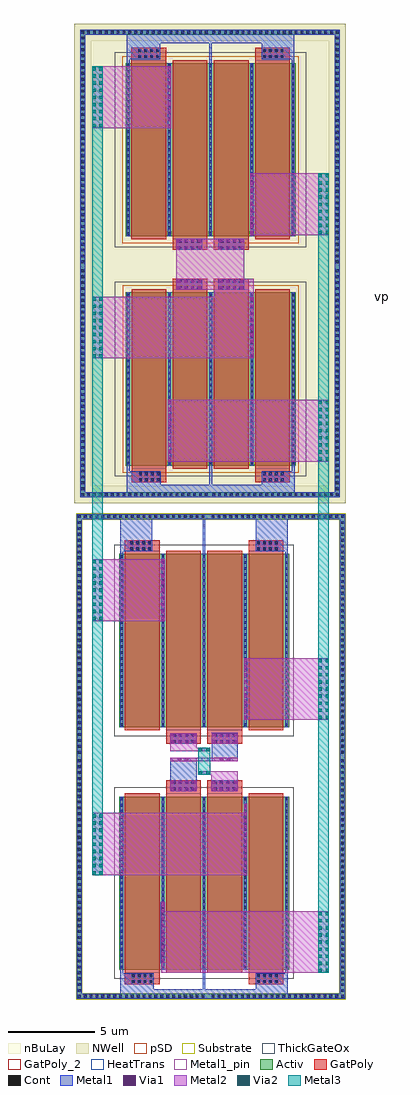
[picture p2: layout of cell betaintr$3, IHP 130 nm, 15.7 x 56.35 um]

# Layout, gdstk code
import gdstk
lib = gdstk.Library(unit=1e-6, precision=5e-09)
def R(c, l, rs):  # rectangles x0, y0, x1, y1
    for r in rs: c.add(gdstk.rectangle(r[:2], r[2:], *l))
def A(c, l, x, y, w, h, nx, ny, dx, dy):  # array of equal rectangles
    R(c, l, [(x+i*dx, y+j*dy, x+i*dx+w, y+j*dy+h) for i in range(nx) for j in range(ny)])
def P(c, l, *ps):  # polygons
    for p in ps: c.add(gdstk.Polygon(p, *l))
Activ = (1, 0)
GatPoly = (5, 0)
GatPoly_2 = (5, 2)
Cont = (6, 0)
Metal1 = (8, 0)
Metal1_pin = (8, 2)
Metal2 = (10, 0)
pSD = (14, 0)
Via1 = (19, 0)
Via2 = (29, 0)
Metal3 = (30, 0)
NWell = (31, 0)
nBuLay = (32, 0)
Substrate = (40, 0)
ThickGateOx = (44, 0)
HeatTrans = (51, 0)

via_stack_13_5 = lib.new_cell('via_stack$13$5')
R(via_stack_13_5, Metal2, [(-0.305,-1.785,0.305,1.785)])
A(via_stack_13_5, Via2, -0.3, -1.735, 0.19, 0.19, 1, 9, 0, 0.41)
A(via_stack_13_5, Via2, 0.11, -1.735, 0.19, 0.19, 1, 9, 0, 0.41)
R(via_stack_13_5, Metal3, [(-0.305,-1.785,0.305,1.785)])

via_stack_8_5 = lib.new_cell('via_stack$8$5')
R(via_stack_8_5, Metal1, [(-0.105,-1.785,0.105,1.785)])
R(via_stack_8_5, Metal2, [(-0.1,-1.785,0.1,1.785)])
A(via_stack_8_5, Via1, -0.095, -1.735, 0.19, 0.19, 1, 9, 0, 0.41)

nmoshv_3_3 = lib.new_cell('nmosHV$3$3')
R(nmoshv_3_3, Activ, [(0,0,0.3,0.3), (0,0,2.68,10), (2.38,0,2.68,0.3)])
R(nmoshv_3_3, GatPoly, [(0.34,-0.18,2.34,10.18)])
R(nmoshv_3_3, GatPoly_2, [(0.34,-0.18,2.34,10.18)])
A(nmoshv_3_3, Cont, 0.07, 0.07, 0.16, 0.16, 1, 4, 0, 0.345)
A(nmoshv_3_3, Cont, 2.45, 0.07, 0.16, 0.16, 1, 4, 0, 0.345)
A(nmoshv_3_3, Cont, 0.07, 1.455, 0.16, 0.16, 1, 3, 0, 0.345)
A(nmoshv_3_3, Cont, 2.45, 1.455, 0.16, 0.16, 1, 3, 0, 0.345)
A(nmoshv_3_3, Cont, 0.07, 2.495, 0.16, 0.16, 1, 4, 0, 0.345)
A(nmoshv_3_3, Cont, 2.45, 2.495, 0.16, 0.16, 1, 4, 0, 0.345)
A(nmoshv_3_3, Cont, 0.07, 3.88, 0.16, 0.16, 1, 3, 0, 0.345)
A(nmoshv_3_3, Cont, 2.45, 3.88, 0.16, 0.16, 1, 3, 0, 0.345)
A(nmoshv_3_3, Cont, 0.07, 4.92, 0.16, 0.16, 1, 4, 0, 0.345)
A(nmoshv_3_3, Cont, 2.45, 4.92, 0.16, 0.16, 1, 4, 0, 0.345)
A(nmoshv_3_3, Cont, 0.07, 6.305, 0.16, 0.16, 1, 3, 0, 0.345)
A(nmoshv_3_3, Cont, 2.45, 6.305, 0.16, 0.16, 1, 3, 0, 0.345)
A(nmoshv_3_3, Cont, 0.07, 7.345, 0.16, 0.16, 1, 4, 0, 0.345)
A(nmoshv_3_3, Cont, 2.45, 7.345, 0.16, 0.16, 1, 4, 0, 0.345)
A(nmoshv_3_3, Cont, 0.07, 8.73, 0.16, 0.16, 1, 3, 0, 0.345)
A(nmoshv_3_3, Cont, 2.45, 8.73, 0.16, 0.16, 1, 3, 0, 0.345)
R(nmoshv_3_3, Cont, [(0.07,9.77,0.23,9.93), (2.45,9.77,2.61,9.93)])
R(nmoshv_3_3, Metal1, [(0.07,0,0.23,10), (2.45,0,2.61,10)])
R(nmoshv_3_3, Metal1_pin, [(0.07,0,0.23,10), (2.45,0,2.61,10)])
R(nmoshv_3_3, ThickGateOx, [(-0.27,-0.52,2.95,10.52)])
R(nmoshv_3_3, HeatTrans, [(0.34,-0.18,2.34,10.18)])
nmoshv_3_3.add(gdstk.Label('nmosHV', (1.34,5), layer=63, texttype=0))
nmoshv_3_3.add(gdstk.Label('nmosHV', (1.34,5), layer=51, texttype=0))

via_stack_7_3 = lib.new_cell('via_stack$7$3')
R(via_stack_7_3, GatPoly, [(-0.66,-0.32,0.66,0.32)])
A(via_stack_7_3, Cont, -0.59, -0.25, 0.16, 0.16, 4, 2, 0.34, 0.34)
R(via_stack_7_3, Metal1, [(-0.64,-0.25,0.64,0.25)])

via_stack_14_5 = lib.new_cell('via_stack$14$5')
R(via_stack_14_5, GatPoly, [(-0.66,-0.32,0.66,0.32)])
A(via_stack_14_5, Cont, -0.59, -0.25, 0.16, 0.16, 4, 2, 0.34, 0.34)
R(via_stack_14_5, Metal1, [(-0.76,-0.31,0.76,0.31)])
R(via_stack_14_5, Metal2, [(-0.76,-0.305,0.76,0.305)])
A(via_stack_14_5, Via1, -0.71, -0.3, 0.19, 0.19, 4, 2, 0.41, 0.41)

via_stack_15_5 = lib.new_cell('via_stack$15$5')
R(via_stack_15_5, Metal1, [(-0.35,-0.105,0.35,0.105)])
R(via_stack_15_5, Metal2, [(-0.35,-0.1,0.35,0.1)])
R(via_stack_15_5, Via1, [(-0.3,-0.095,-0.11,0.095), (0.11,-0.095,0.3,0.095)])

guard_ring_4_3 = lib.new_cell('guard_ring$4$3')
R(guard_ring_4_3, Activ, [(-7.75,-13.7,-7.45,13.7), (7.45,-13.7,7.75,13.7), (-7.75,13.7,7.75,14)])
P(guard_ring_4_3, Activ, [(-7.75,-14),(-7.75,13.7),(-7.45,13.7),(-7.45,-13.7),(7.45,-13.7),(7.45,13.7),(-7.75,13.7),(-7.75,14),(7.75,14),(7.75,-14)])
A(guard_ring_4_3, Cont, -7.68, -13.93, 0.16, 0.16, 22, 2, 0.34, 27.7)
A(guard_ring_4_3, Cont, 0.04, -13.93, 0.16, 0.16, 23, 2, 0.34, 27.7)
A(guard_ring_4_3, Cont, -7.68, -13.59, 0.16, 0.16, 1, 40, 0, 0.34)
A(guard_ring_4_3, Cont, 7.52, -13.59, 0.16, 0.16, 1, 40, 0, 0.34)
A(guard_ring_4_3, Cont, -7.68, 0.17, 0.16, 0.16, 1, 40, 0, 0.34)
A(guard_ring_4_3, Cont, 7.52, 0.17, 0.16, 0.16, 1, 40, 0, 0.34)
R(guard_ring_4_3, Metal1, [(-7.75,-14,7.75,-13.7), (-7.75,-13.7,-7.45,13.7), (7.45,-13.7,7.75,13.7), (-7.75,13.7,7.75,14)])
R(guard_ring_4_3, pSD, [(-7.78,-13.67,-7.42,13.67), (7.42,-13.67,7.78,13.67), (-7.78,13.67,7.78,14.03)])
P(guard_ring_4_3, pSD, [(-7.78,-14.03),(-7.78,13.67),(-7.42,13.67),(-7.42,-13.67),(7.42,-13.67),(7.42,13.67),(-7.78,13.67),(-7.78,14.03),(7.78,14.03),(7.78,-14.03)])
R(guard_ring_4_3, Substrate, [(-7.78,-13.67,-7.42,13.67), (7.42,-13.67,7.78,13.67), (-7.78,13.67,7.78,14.03)])
P(guard_ring_4_3, Substrate, [(-7.78,-14.03),(-7.78,13.67),(-7.42,13.67),(-7.42,-13.67),(7.42,-13.67),(7.42,13.67),(-7.78,13.67),(-7.78,14.03),(7.78,14.03),(7.78,-14.03)])
guard_ring_4_3.add(gdstk.Label('sub!', (0,-13.85), layer=63, texttype=0))

via_stack_16_3 = lib.new_cell('via_stack$16$3')
R(via_stack_16_3, Metal2, [(-0.35,-0.1,0.35,0.1)])
R(via_stack_16_3, Via2, [(-0.3,-0.095,-0.11,0.095), (0.11,-0.095,0.3,0.095)])
R(via_stack_16_3, Metal3, [(-0.35,-0.1,0.35,0.1)])

pmoshv_2_4 = lib.new_cell('pmosHV$2$4')
R(pmoshv_2_4, Activ, [(0,0,0.3,0.3), (0,0,2.68,10), (2.38,0,2.68,0.3)])
R(pmoshv_2_4, GatPoly, [(0.34,-0.18,2.34,10.18)])
R(pmoshv_2_4, GatPoly_2, [(0.34,-0.18,2.34,10.18)])
A(pmoshv_2_4, Cont, 0.07, 0.07, 0.16, 0.16, 1, 4, 0, 0.345)
A(pmoshv_2_4, Cont, 2.45, 0.07, 0.16, 0.16, 1, 4, 0, 0.345)
A(pmoshv_2_4, Cont, 0.07, 1.455, 0.16, 0.16, 1, 3, 0, 0.345)
A(pmoshv_2_4, Cont, 2.45, 1.455, 0.16, 0.16, 1, 3, 0, 0.345)
A(pmoshv_2_4, Cont, 0.07, 2.495, 0.16, 0.16, 1, 4, 0, 0.345)
A(pmoshv_2_4, Cont, 2.45, 2.495, 0.16, 0.16, 1, 4, 0, 0.345)
A(pmoshv_2_4, Cont, 0.07, 3.88, 0.16, 0.16, 1, 3, 0, 0.345)
A(pmoshv_2_4, Cont, 2.45, 3.88, 0.16, 0.16, 1, 3, 0, 0.345)
A(pmoshv_2_4, Cont, 0.07, 4.92, 0.16, 0.16, 1, 4, 0, 0.345)
A(pmoshv_2_4, Cont, 2.45, 4.92, 0.16, 0.16, 1, 4, 0, 0.345)
A(pmoshv_2_4, Cont, 0.07, 6.305, 0.16, 0.16, 1, 3, 0, 0.345)
A(pmoshv_2_4, Cont, 2.45, 6.305, 0.16, 0.16, 1, 3, 0, 0.345)
A(pmoshv_2_4, Cont, 0.07, 7.345, 0.16, 0.16, 1, 4, 0, 0.345)
A(pmoshv_2_4, Cont, 2.45, 7.345, 0.16, 0.16, 1, 4, 0, 0.345)
A(pmoshv_2_4, Cont, 0.07, 8.73, 0.16, 0.16, 1, 3, 0, 0.345)
A(pmoshv_2_4, Cont, 2.45, 8.73, 0.16, 0.16, 1, 3, 0, 0.345)
R(pmoshv_2_4, Cont, [(0.07,9.77,0.23,9.93), (2.45,9.77,2.61,9.93)])
R(pmoshv_2_4, Metal1, [(0.07,0,0.23,10), (2.45,0,2.61,10)])
R(pmoshv_2_4, Metal1_pin, [(0.07,0,0.23,10), (2.45,0,2.61,10)])
R(pmoshv_2_4, pSD, [(-0.18,-0.4,2.86,10.4)])
R(pmoshv_2_4, NWell, [(-0.62,-0.62,3.3,10.62)])
R(pmoshv_2_4, Substrate, [(2.38,0,2.68,0.3)])
R(pmoshv_2_4, ThickGateOx, [(-0.62,-0.62,3.3,10.62)])
R(pmoshv_2_4, HeatTrans, [(0.34,-0.18,2.34,10.18)])
pmoshv_2_4.add(gdstk.Label('pmosHV', (1.34,5), layer=63, texttype=0))
pmoshv_2_4.add(gdstk.Label('pmos', (1.34,5), layer=51, texttype=0))

pmoshv_3_3 = lib.new_cell('pmosHV$3$3')
R(pmoshv_3_3, Activ, [(0,0,0.3,0.3), (0,0,2.68,10), (2.38,0,2.68,0.3)])
R(pmoshv_3_3, GatPoly, [(0.34,-0.18,2.34,10.18)])
R(pmoshv_3_3, GatPoly_2, [(0.34,-0.18,2.34,10.18)])
A(pmoshv_3_3, Cont, 0.07, 0.07, 0.16, 0.16, 1, 4, 0, 0.345)
A(pmoshv_3_3, Cont, 2.45, 0.07, 0.16, 0.16, 1, 4, 0, 0.345)
A(pmoshv_3_3, Cont, 0.07, 1.455, 0.16, 0.16, 1, 3, 0, 0.345)
A(pmoshv_3_3, Cont, 2.45, 1.455, 0.16, 0.16, 1, 3, 0, 0.345)
A(pmoshv_3_3, Cont, 0.07, 2.495, 0.16, 0.16, 1, 4, 0, 0.345)
A(pmoshv_3_3, Cont, 2.45, 2.495, 0.16, 0.16, 1, 4, 0, 0.345)
A(pmoshv_3_3, Cont, 0.07, 3.88, 0.16, 0.16, 1, 3, 0, 0.345)
A(pmoshv_3_3, Cont, 2.45, 3.88, 0.16, 0.16, 1, 3, 0, 0.345)
A(pmoshv_3_3, Cont, 0.07, 4.92, 0.16, 0.16, 1, 4, 0, 0.345)
A(pmoshv_3_3, Cont, 2.45, 4.92, 0.16, 0.16, 1, 4, 0, 0.345)
A(pmoshv_3_3, Cont, 0.07, 6.305, 0.16, 0.16, 1, 3, 0, 0.345)
A(pmoshv_3_3, Cont, 2.45, 6.305, 0.16, 0.16, 1, 3, 0, 0.345)
A(pmoshv_3_3, Cont, 0.07, 7.345, 0.16, 0.16, 1, 4, 0, 0.345)
A(pmoshv_3_3, Cont, 2.45, 7.345, 0.16, 0.16, 1, 4, 0, 0.345)
A(pmoshv_3_3, Cont, 0.07, 8.73, 0.16, 0.16, 1, 3, 0, 0.345)
A(pmoshv_3_3, Cont, 2.45, 8.73, 0.16, 0.16, 1, 3, 0, 0.345)
R(pmoshv_3_3, Cont, [(0.07,9.77,0.23,9.93), (2.45,9.77,2.61,9.93)])
R(pmoshv_3_3, Metal1, [(0.07,0,0.23,10), (2.45,0,2.61,10)])
R(pmoshv_3_3, Metal1_pin, [(0.07,0,0.23,10), (2.45,0,2.61,10)])
R(pmoshv_3_3, pSD, [(-0.18,-0.4,2.86,10.4)])
R(pmoshv_3_3, NWell, [(-0.62,-0.62,3.3,10.62)])
R(pmoshv_3_3, Substrate, [(2.38,0,2.68,0.3)])
R(pmoshv_3_3, ThickGateOx, [(-0.62,-0.62,3.3,10.62)])
R(pmoshv_3_3, HeatTrans, [(0.34,-0.18,2.34,10.18)])
pmoshv_3_3.add(gdstk.Label('pmosHV', (1.34,5), layer=63, texttype=0))
pmoshv_3_3.add(gdstk.Label('pmos', (1.34,5), layer=51, texttype=0))

guard_ring_3_4 = lib.new_cell('guard_ring$3$4')
R(guard_ring_3_4, Activ, [(-7.5,-13.2,-7.2,13.2), (7.2,-13.2,7.5,13.2), (-7.5,13.2,7.5,13.5)])
P(guard_ring_3_4, Activ, [(-7.5,-13.5),(-7.5,13.2),(-7.2,13.2),(-7.2,-13.2),(7.2,-13.2),(7.2,13.2),(-7.5,13.2),(-7.5,13.5),(7.5,13.5),(7.5,-13.5)])
A(guard_ring_3_4, Cont, -7.43, -13.43, 0.16, 0.16, 22, 2, 0.34, 26.7)
A(guard_ring_3_4, Cont, 0.13, -13.43, 0.16, 0.16, 22, 2, 0.34, 26.7)
A(guard_ring_3_4, Cont, -7.43, -13.09, 0.16, 0.16, 1, 38, 0, 0.34)
A(guard_ring_3_4, Cont, 7.27, -13.09, 0.16, 0.16, 1, 38, 0, 0.34)
A(guard_ring_3_4, Cont, -7.43, 0.01, 0.16, 0.16, 1, 39, 0, 0.34)
A(guard_ring_3_4, Cont, 7.27, 0.01, 0.16, 0.16, 1, 39, 0, 0.34)
R(guard_ring_3_4, Metal1, [(-7.5,-13.5,7.5,-13.2), (-7.5,-13.2,-7.2,13.2), (7.2,-13.2,7.5,13.2), (-7.5,13.2,7.5,13.5)])
R(guard_ring_3_4, NWell, [(-7.85,-13.85,7.85,13.85)])
R(guard_ring_3_4, nBuLay, [(-7.85,-12.85,-6.85,12.85), (6.85,-12.85,7.85,12.85), (-7.85,12.85,7.85,13.85)])
P(guard_ring_3_4, nBuLay, [(-7.85,-13.85),(-7.85,12.85),(-6.85,12.85),(-6.85,-12.85),(6.85,-12.85),(6.85,12.85),(-7.85,12.85),(-7.85,13.85),(7.85,13.85),(7.85,-13.85)])
guard_ring_3_4.add(gdstk.Label('well', (0,-13.35), layer=63, texttype=0))

betaintr_3 = lib.new_cell('betaintr$3')
R(betaintr_3, GatPoly, [(0.585,-20.615,2.585,-19.88), (7.725,-20.615,9.725,-19.88), (2.965,-9.675,4.965,-8.845), (5.345,-9.675,7.345,-8.845), (2.97,-6.745,4.97,-5.915), (5.345,-6.745,7.345,-5.915), (0.585,4.29,2.585,5.02), (7.725,4.29,9.725,5.02), (0.965,8.365,2.965,9.205), (8.105,8.365,10.105,9.205), (3.345,19.43,5.345,20.1), (5.725,19.43,7.725,20.1), (3.34,21.79,5.34,22.415), (5.72,21.79,7.72,22.415), (0.96,32.685,2.96,33.44), (8.1,32.685,10.1,33.44)])
A(betaintr_3, Metal1, 0.69, 32.49, 0.16, 2.01, 3, 1, 4.76, 0)
R(betaintr_3, Metal1, [(0.315,-21.47,9.995,-20.92), (0.315,-21.47,0.475,-19.705), (0.315,-21.47,2.235,-19.975), (5.075,-21.47,5.235,-19.71), (8.145,-21.45,9.995,-19.975), (9.835,-21.45,9.995,-19.71), (3.2,-8.99,4.72,-7.53), (5.585,-7.755,7.105,-6.105), (5.075,4,5.235,6.53), (9.835,4,9.995,6.53), (0.315,4.155,0.475,6.53), (0.315,4.38,2.155,6.53), (8.15,4.38,9.995,6.53), (0.695,7.5,0.855,9.39), (0.695,7.5,2.65,9.005), (0.695,7.5,10.375,8.22), (5.455,7.5,5.615,9.395), (8.49,7.5,10.375,9.005), (10.215,7.5,10.375,9.395), (0.69,32.8,2.61,34.5), (8.485,32.8,10.37,34.5), (0.69,33.71,10.37,34.5)])
R(betaintr_3, Metal1_pin, [(5.1,5.805,5.23,5.935)])
R(betaintr_3, Metal2, [(2.67,-19.97,12.36,-16.4), (-1.305,-14.325,7.645,-10.72), (5.58,-9.485,7.1,-8.33), (4.805,-8.53,7.1,-8.33), (3.2,-7.755,7.105,-7.53), (3.21,-7.175,5.505,-6.975), (3.21,-7.175,4.73,-6.115), (7.435,-5.355,12.355,-1.785), (-1.305,0.35,2.88,3.92), (3.045,9.555,12.36,13.125), (-1.305,15.515,8.015,19.085), (5.725,18.845,8.015,20.1), (3.54,19.47,7.48,22.42), (7.805,22.63,12.36,26.2), (-1.305,28.805,3.25,32.375)])
R(betaintr_3, Metal3, [(11.75,-19.05,12.36,26.2), (11.75,-18.465,12.36,-1.82), (-1.305,-13.405,-0.695,32.375), (-1.305,-12.94,-0.695,3.92), (4.805,-8.53,5.505,-6.975)])
betaintr_3.add(gdstk.Reference(via_stack_13_5, (12.055,-18.185)))
betaintr_3.add(gdstk.Reference(via_stack_13_5, (12.055,-3.575)))
betaintr_3.add(gdstk.Reference(via_stack_13_5, (-1,-12.54)))
betaintr_3.add(gdstk.Reference(via_stack_13_5, (-1,2.135)))
betaintr_3.add(gdstk.Reference(via_stack_8_5, (7.535,-3.57)))
betaintr_3.add(gdstk.Reference(nmoshv_3_3, (0.245,-5.775)))
betaintr_3.add(gdstk.Reference(via_stack_8_5, (2.775,2.135)))
betaintr_3.add(gdstk.Reference(via_stack_7_3, (1.495,4.7)))
betaintr_3.add(gdstk.Reference(via_stack_7_3, (8.81,4.7)))
betaintr_3.add(gdstk.Reference(nmoshv_3_3, (7.385,-5.775)))
betaintr_3.add(gdstk.Reference(nmoshv_3_3, (5.005,-5.775)))
betaintr_3.add(gdstk.Reference(via_stack_8_5, (2.77,-17.63)))
betaintr_3.add(gdstk.Reference(nmoshv_3_3, (0.245,-19.78)))
betaintr_3.add(gdstk.Reference(nmoshv_3_3, (5.005,-19.78)))
betaintr_3.add(gdstk.Reference(nmoshv_3_3, (7.385,-19.78)))
betaintr_3.add(gdstk.Reference(via_stack_7_3, (1.575,-20.295)))
betaintr_3.add(gdstk.Reference(via_stack_7_3, (8.805,-20.295)))
betaintr_3.add(gdstk.Reference(via_stack_8_5, (7.535,-11.985)))
betaintr_3.add(gdstk.Reference(nmoshv_3_3, (2.625,-5.775)))
betaintr_3.add(gdstk.Reference(via_stack_14_5, (6.34,-9.165)))
betaintr_3.add(gdstk.Reference(via_stack_14_5, (3.96,-9.165)))
betaintr_3.add(gdstk.Reference(via_stack_14_5, (3.965,-6.425)))
betaintr_3.add(gdstk.Reference(via_stack_14_5, (6.345,-6.425)))
betaintr_3.add(gdstk.Reference(via_stack_15_5, (6.37,-7.645)))
betaintr_3.add(gdstk.Reference(via_stack_15_5, (3.935,-7.64)))
betaintr_3.add(gdstk.Reference(guard_ring_4_3, (5.55,-7.47)))
betaintr_3.add(gdstk.Reference(via_stack_16_3, (5.155,-7.075)))
betaintr_3.add(gdstk.Reference(via_stack_16_3, (5.155,-8.43)))
betaintr_3.add(gdstk.Reference(nmoshv_3_3, (2.625,-19.78)))
betaintr_3.add(gdstk.Reference(pmoshv_2_4, (0.62,22.56)))
betaintr_3.add(gdstk.Reference(pmoshv_2_4, (3,22.56)))
betaintr_3.add(gdstk.Reference(pmoshv_2_4, (5.38,22.56)))
betaintr_3.add(gdstk.Reference(pmoshv_2_4, (7.76,22.56)))
betaintr_3.add(gdstk.Reference(pmoshv_2_4, (0.625,9.325)))
betaintr_3.add(gdstk.Reference(pmoshv_3_3, (7.765,9.325)))
betaintr_3.add(gdstk.Reference(pmoshv_2_4, (3.005,9.325)))
betaintr_3.add(gdstk.Reference(via_stack_7_3, (1.95,33.12)))
betaintr_3.add(gdstk.Reference(via_stack_7_3, (9.145,33.12)))
betaintr_3.add(gdstk.Reference(via_stack_7_3, (1.99,8.685)))
betaintr_3.add(gdstk.Reference(via_stack_7_3, (9.15,8.685)))
betaintr_3.add(gdstk.Reference(via_stack_8_5, (3.15,30.59)))
betaintr_3.add(gdstk.Reference(via_stack_8_5, (7.91,24.415)))
betaintr_3.add(gdstk.Reference(via_stack_8_5, (7.91,17.3)))
betaintr_3.add(gdstk.Reference(via_stack_8_5, (3.15,11.34)))
betaintr_3.add(gdstk.Reference(via_stack_13_5, (-1,30.59)))
betaintr_3.add(gdstk.Reference(via_stack_13_5, (-1,17.3)))
betaintr_3.add(gdstk.Reference(via_stack_13_5, (12.055,24.415)))
betaintr_3.add(gdstk.Reference(via_stack_13_5, (12.055,11.34)))
betaintr_3.add(gdstk.Reference(guard_ring_3_4, (5.495,21)))
betaintr_3.add(gdstk.Reference(pmoshv_2_4, (5.385,9.325)))
betaintr_3.add(gdstk.Reference(via_stack_14_5, (4.3,22.11)))
betaintr_3.add(gdstk.Reference(via_stack_14_5, (6.72,22.11)))
betaintr_3.add(gdstk.Reference(via_stack_14_5, (6.72,19.78)))
betaintr_3.add(gdstk.Reference(via_stack_14_5, (4.3,19.78)))
betaintr_3.add(gdstk.Label('vp', (15.465,19.11), layer=63, texttype=0))
betaintr_3.add(gdstk.Label('c', (-6.88,20.405), layer=63, texttype=0))

lib.write_gds('betaintr_3.gds')
